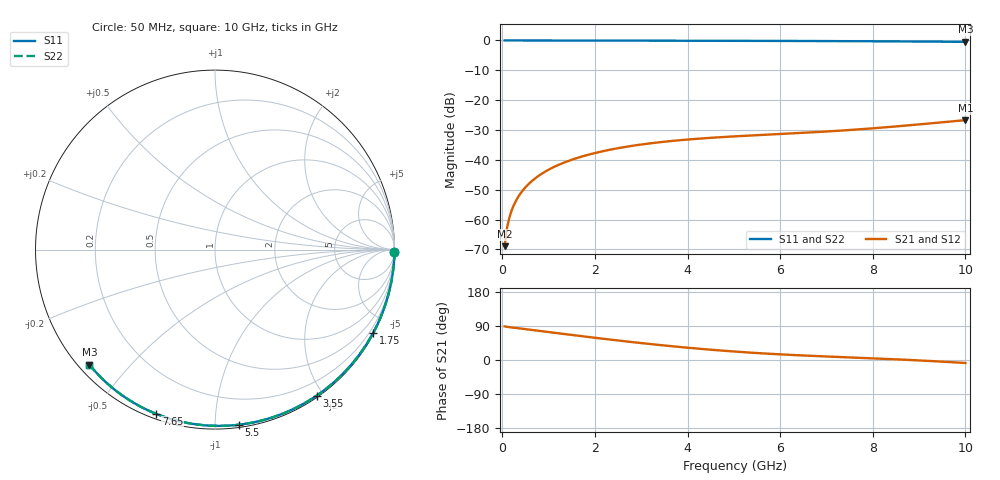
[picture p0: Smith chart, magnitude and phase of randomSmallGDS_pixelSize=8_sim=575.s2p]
! freq	dB(S11)	phase(S11)	dB(S12)	phase(S12)
!  dB(S21)	phase(S21)	dB(S22)	phase(S22)
!S-par simulation data
#  GHz  S  DB  R 50
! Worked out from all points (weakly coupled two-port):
!   200 points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, 50 MHz to 10 GHz, reference 50 ohm
!   highest |S21| = -26.70 dB at 10 GHz (marker M1); lowest = -68.9 dB at 50 MHz (marker M2)
!   lowest |S11| = -0.5 dB at 10 GHz (marker M3), VSWR 37.98, Z = 1.52 - j19.4 ohm
!   |S11| at or under -10 dB: nowhere
!   |S22| runs from -0.5 to 0.0 dB; largest |S21 - S12| = 0
!   S11 on the Smith chart (normalised r, x): 50 MHz: open; 1.75 GHz: 0.04, -4.03; 3.55 GHz: 0.02, -1.92; 5.5 GHz: 0.02, -1.14; 7.65 GHz: 0.02, -0.70; 10 GHz: 0.03, -0.39
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0.05  -0.00 -0.8  -68.93 88.7  -68.93 88.7  -0.00 -0.8
0.1  -0.00 -1.6  -62.96 87.6  -62.96 87.6  -0.00 -1.6
0.15  -0.00 -2.4  -59.49 86.7  -59.49 86.7  -0.00 -2.4
0.2  -0.00 -3.2  -57.03 85.9  -57.03 85.9  -0.00 -3.2
0.25  -0.00 -4.1  -55.13 85.1  -55.13 85.1  -0.00 -4.0
0.35  -0.00 -5.7  -52.25 83.7  -52.25 83.7  -0.00 -5.7
0.5  -0.01 -8.1  -49.19 81.4  -49.19 81.4  -0.01 -8.1
0.7  -0.01 -11.3  -46.32 78.4  -46.32 78.4  -0.01 -11.3
1  -0.02 -16.1  -43.30 73.8  -43.30 73.8  -0.02 -16.1
1.35  -0.03 -21.6  -40.82 68.4  -40.82 68.4  -0.03 -21.6
1.75  -0.04 -27.9  -38.75 62.3  -38.75 62.3  -0.04 -27.9
2.5  -0.05 -39.4  -36.09 51.4  -36.09 51.4  -0.05 -39.4
3.4  -0.07 -52.9  -34.10 39.5  -34.10 39.5  -0.07 -52.9
3.55  -0.07 -55.1  -33.85 37.7  -33.85 37.7  -0.07 -55.1
4.3  -0.09 -65.9  -32.84 29.2  -32.84 29.2  -0.09 -65.8
5.05  -0.12 -76.3  -32.10 22.0  -32.10 22.0  -0.12 -76.2
5.5  -0.13 -82.3  -31.74 18.4  -31.74 18.4  -0.13 -82.3
6.7  -0.19 -97.9  -30.78 10.8  -30.78 10.8  -0.19 -97.9
7.65  -0.25 -109.7  -29.85 6.1  -29.85 6.1  -0.25 -109.6
8.35  -0.30 -118.1  -29.00 2.6  -29.00 2.6  -0.30 -118.1
9.2  -0.37 -128.2  -27.85 -2.4  -27.85 -2.4  -0.37 -128.1
10  -0.46 -137.5  -26.70 -7.9  -26.70 -7.9  -0.46 -137.5
